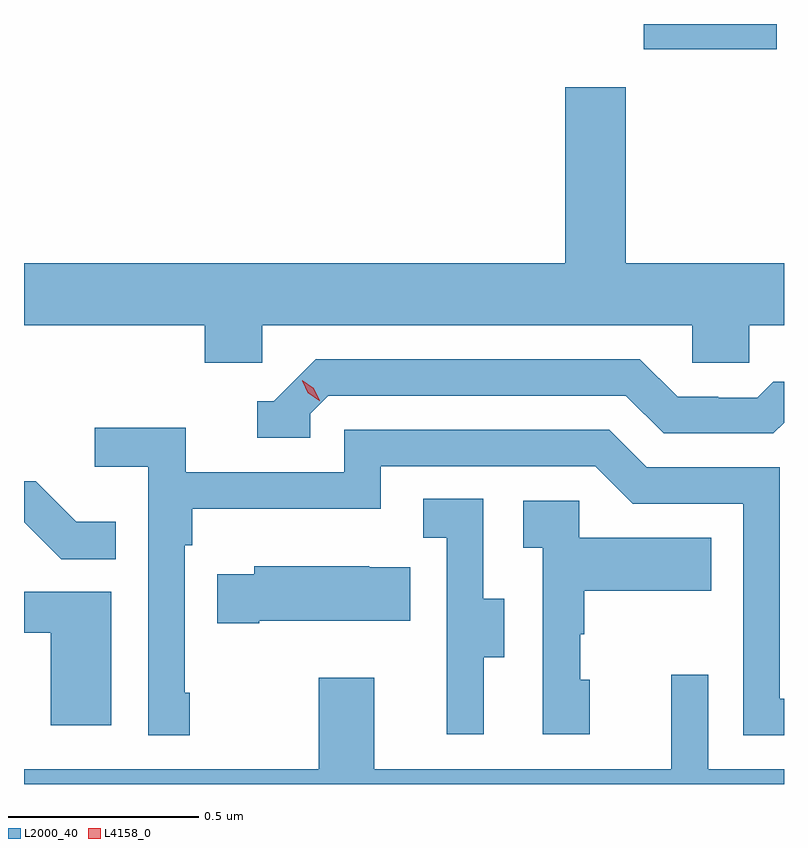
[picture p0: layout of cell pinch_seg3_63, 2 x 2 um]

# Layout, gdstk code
import gdstk
lib = gdstk.Library(unit=1e-6, precision=1e-09)
def R(c, l, rs):  # rectangles x0, y0, x1, y1
    for r in rs: c.add(gdstk.rectangle(r[:2], r[2:], *l))
def P(c, l, *ps):  # polygons
    for p in ps: c.add(gdstk.Polygon(p, *l))
L2000_40 = (2000, 40)
L4158_0 = (4158, 0)

pinch_seg3_63 = lib.new_cell('pinch_seg3_63')
R(pinch_seg3_63, L2000_40, [(1027.154,730.946,1027.504,731.013)])
P(pinch_seg3_63, L2000_40, [(1026.15,730.22),(1027.281,730.22),(1027.281,730.122),(1027.431,730.122),(1027.431,730.22),(1027.523,730.22),(1027.523,730.384),(1027.107,730.384),(1027.107,730.846),(1026.947,730.846),(1026.947,730.384),(1025.523,730.384),(1025.523,730.22),(1025.999,730.22),(1025.999,730.122),(1026.15,730.122)],
  [(1026.276,729.987),(1026.324,730.035),(1027.107,730.035),(1027.206,729.936),(1027.495,729.936),(1027.523,729.964),(1027.523,730.072),(1027.495,730.072),(1027.453,730.029),(1027.35,730.029),(1027.35,730.032),(1027.243,730.032),(1027.144,730.131),(1026.291,730.131),(1026.18,730.02),(1026.137,730.02),(1026.137,729.924),(1026.276,729.924)],
  [(1025.959,729.253),(1025.946,729.253),(1025.946,729.641),(1025.966,729.641),(1025.966,729.737),(1026.462,729.737),(1026.462,729.849),(1027.026,729.849),(1027.125,729.75),(1027.416,729.75),(1027.416,729.141),(1027.523,729.141),(1027.523,729.237),(1027.512,729.237),(1027.512,729.846),(1027.162,729.846),(1027.063,729.945),(1026.366,729.945),(1026.366,729.834),(1025.948,729.834),(1025.948,729.95),(1025.709,729.95),(1025.709,729.848),(1025.85,729.848),(1025.85,729.141),(1025.959,729.141)],
  [(1025.765,729.703),(1025.661,729.703),(1025.554,729.81),(1025.523,729.81),(1025.523,729.702),(1025.621,729.604),(1025.765,729.604)],
  [(1026.733,729.346),(1026.787,729.346),(1026.787,729.501),(1026.732,729.501),(1026.732,729.764),(1026.573,729.764),(1026.573,729.661),(1026.636,729.661),(1026.636,729.357),(1026.635,729.357),(1026.635,729.144),(1026.733,729.144)],
  [(1027.012,729.288),(1026.987,729.288),(1026.987,729.407),(1026.997,729.407),(1026.997,729.521),(1027.331,729.521),(1027.331,729.661),(1026.984,729.661),(1026.984,729.759),(1026.837,729.759),(1026.837,729.635),(1026.888,729.635),(1026.888,729.144),(1027.012,729.144)],
  [(1026.142,729.443),(1026.539,729.443),(1026.539,729.583),(1026.431,729.583),(1026.431,729.586),(1026.129,729.586),(1026.129,729.565),(1026.031,729.565),(1026.031,729.436),(1026.142,729.436)],
  [(1025.752,729.519),(1025.523,729.519),(1025.523,729.411),(1025.594,729.411),(1025.594,729.168),(1025.752,729.168)],
  [(1027.523,729.052),(1027.323,729.052),(1027.323,729.301),(1027.226,729.301),(1027.226,729.052),(1026.445,729.052),(1026.445,729.292),(1026.298,729.292),(1026.298,729.052),(1025.523,729.052),(1025.523,729.013),(1027.523,729.013)])
P(pinch_seg3_63, L4158_0, [(1026.3,730.022),(1026.27,730.042),(1026.255,730.074),(1026.255,730.075),(1026.255,730.075),(1026.285,730.055),(1026.301,730.022),(1026.301,730.022)])

lib.write_gds('pinch_seg3_63.gds')
